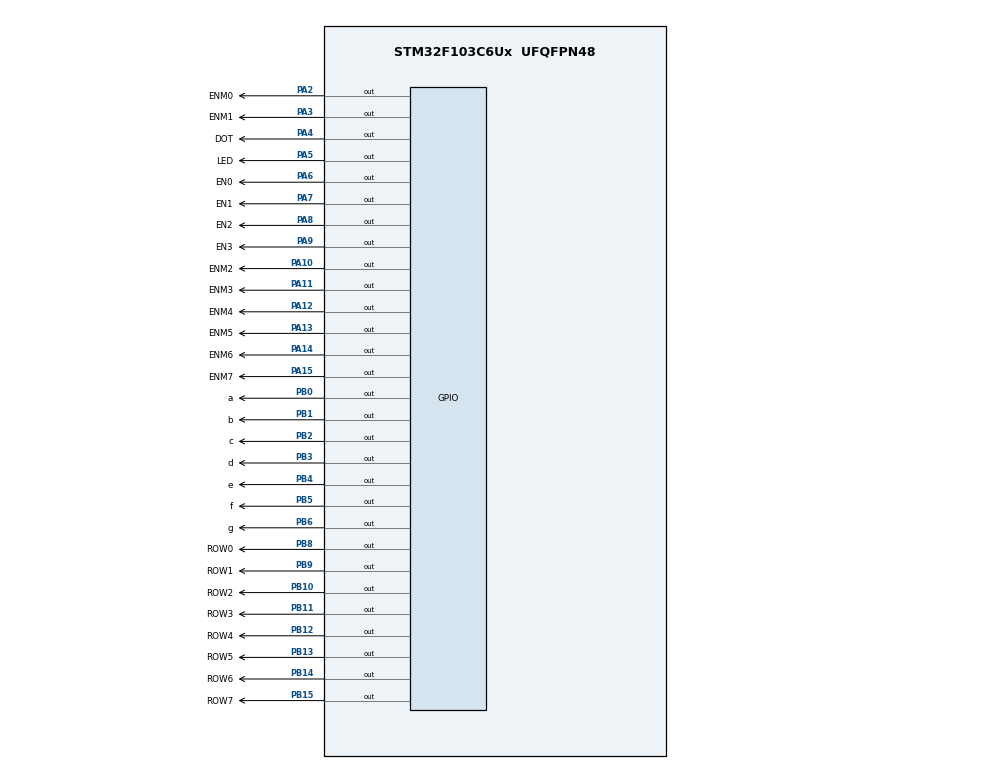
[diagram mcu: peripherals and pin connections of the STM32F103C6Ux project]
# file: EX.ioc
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Mcu.Family=STM32F1
Mcu.Name=STM32F103C6Ux
Mcu.Package=UFQFPN48
NVIC.PriorityGroup=NVIC_PRIORITYGROUP_4
NVIC.TIM2_IRQn=true\:0\:0\:false\:false\:true\:true\:true
PA10.GPIO_Label=ENM2
PA10.Signal=GPIO_Output
PA11.GPIO_Label=ENM3
PA11.Signal=GPIO_Output
PA12.GPIO_Label=ENM4
PA12.Signal=GPIO_Output
PA13.GPIO_Label=ENM5
PA13.Signal=GPIO_Output
PA14.GPIO_Label=ENM6
PA14.Signal=GPIO_Output
PA15.GPIO_Label=ENM7
PA15.Signal=GPIO_Output
PA2.GPIO_Label=ENM0
PA2.Signal=GPIO_Output
PA3.GPIO_Label=ENM1
PA3.Signal=GPIO_Output
PA4.GPIO_Label=DOT
PA4.Signal=GPIO_Output
PA5.GPIO_Label=LED
PA5.Signal=GPIO_Output
PA6.GPIO_Label=EN0
PA6.Signal=GPIO_Output
PA7.GPIO_Label=EN1
PA7.Signal=GPIO_Output
PA8.GPIO_Label=EN2
PA8.Signal=GPIO_Output
PA9.GPIO_Label=EN3
PA9.Signal=GPIO_Output
PB0.GPIO_Label=a
PB0.Signal=GPIO_Output
PB1.GPIO_Label=b
PB1.Signal=GPIO_Output
PB10.GPIO_Label=ROW2
PB10.Signal=GPIO_Output
PB11.GPIO_Label=ROW3
PB11.Signal=GPIO_Output
PB12.GPIO_Label=ROW4
PB12.Signal=GPIO_Output
PB13.GPIO_Label=ROW5
PB13.Signal=GPIO_Output
PB14.GPIO_Label=ROW6
PB14.Signal=GPIO_Output
PB15.GPIO_Label=ROW7
PB15.Signal=GPIO_Output
PB2.GPIO_Label=c
PB2.Signal=GPIO_Output
PB3.GPIO_Label=d
PB3.Signal=GPIO_Output
PB4.GPIO_Label=e
PB4.Signal=GPIO_Output
PB5.GPIO_Label=f
PB5.Signal=GPIO_Output
PB6.GPIO_Label=g
PB6.Signal=GPIO_Output
PB8.GPIO_Label=ROW0
PB8.Signal=GPIO_Output
PB9.GPIO_Label=ROW1
PB9.Signal=GPIO_Output
ProjectManager.HeapSize=0x200
ProjectManager.StackSize=0x400
ProjectManager.TargetToolchain=STM32CubeIDE
RCC.APB1Freq_Value=8000000
RCC.APB2Freq_Value=8000000
TIM2.Period=9
TIM2.Prescaler=7999
VP_SYS_VS_ND.Mode=No_Debug
VP_TIM2_VS_ClockSourceINT.Mode=Internal
board=custom

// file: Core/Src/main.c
/* USER CODE BEGIN Header */
/**
  ******************************************************************************
  * @file           : main.c
  * @brief          : Main program body
  ******************************************************************************
  * @attention
  *
  * <h2><center>&copy; Copyright (c) 2023 STMicroelectronics.
  * All rights reserved.</center></h2>
  *
  * This software component is licensed by ST under BSD 3-Clause license,
  * the "License"; You may not use this file except in compliance with the
  * License. You may obtain a copy of the License at:
  *                        opensource.org/licenses/BSD-3-Clause
  *
  ******************************************************************************
  */
/* USER CODE END Header */
#include "main.h"

TIM_HandleTypeDef htim2;

void SystemClock_Config(void);
static void MX_GPIO_Init(void);
static void MX_TIM2_Init(void);

/* USER CODE BEGIN 0 */

void display7SEG(int num){
	//cac chan cua led 7 doan tuong ung  0 1 2 3 4 5 6 7 8 9
	uint16_t LED7SEG[10] = {0x003F, 0x0006, 0x005B, 0x004F, 0x0066, 0x006D, 0x007D, 0x0007, 0x007F, 0x006F};

	GPIOB->ODR = ~LED7SEG[num];
}

const int MAX_LED = 4;
int index_led = 0;
int hour = 15, minute = 8, second = 50;
int led_buffer[4] = {1, 2, 3, 4};

void updateClockBuffer(){
	if (hour < 10){
		led_buffer[0] = 0;
		led_buffer[1] = hour;
	}
	else {
		led_buffer[0] = hour / 10;
		led_buffer[1] = hour % 10;
	}

	if (minute < 10){
		led_buffer[2] = 0;
		led_buffer[3] = minute;
	}
	else {
		led_buffer[2] = minute / 10;
		led_buffer[3] = minute % 10;
	}
}
void update7SEG(int index){
    display7SEG(led_buffer[index]);
	switch (index){
        case 0:
            //Display the first 7SEG with led_buffer[0]
        	HAL_GPIO_WritePin(EN0_GPIO_Port, EN0_Pin, GPIO_PIN_RESET);
        	HAL_GPIO_WritePin(GPIOA, EN1_Pin|EN2_Pin|EN3_Pin, GPIO_PIN_SET);
        	break;
        case 1:
            //Display the second 7SEG with led_buffer[1]
        	HAL_GPIO_WritePin(EN1_GPIO_Port, EN1_Pin, GPIO_PIN_RESET);
        	HAL_GPIO_WritePin(GPIOA, EN0_Pin|EN2_Pin|EN3_Pin, GPIO_PIN_SET);
        	break;
        case 2:
        	//Display the third 7SEG with led_buffer[2]
        	HAL_GPIO_WritePin(EN2_GPIO_Port, EN2_Pin, GPIO_PIN_RESET);
        	HAL_GPIO_WritePin(GPIOA, EN0_Pin|EN1_Pin|EN3_Pin, GPIO_PIN_SET);
            break;
        case 3:
            //Display the forth 7SEG with led_buffer[3]
        	HAL_GPIO_WritePin(GPIOA, EN0_Pin|EN1_Pin|EN2_Pin, GPIO_PIN_SET);
        	HAL_GPIO_WritePin(EN3_GPIO_Port, EN3_Pin, GPIO_PIN_RESET);
            break;
        default:
            break;
    }
}

/* USER CODE END 0 */

int main(void)
{

  /* MCU Configuration--------------------------------------------------------*/

  /* Reset of all peripherals, Initializes the Flash interface and the Systick. */
  HAL_Init();

  /* Configure the system clock */
  SystemClock_Config();

  /* Initialize all configured peripherals */
  MX_GPIO_Init();
  MX_TIM2_Init();
  /* USER CODE BEGIN 2 */
  HAL_TIM_Base_Start_IT(&htim2);
  /* USER CODE END 2 */

  /* Infinite loop */
  /* USER CODE BEGIN WHILE */
  setTimer0(1000);
  setTimer1(1000);
  while (1){
	  if (timer0_flag) {
		  HAL_GPIO_TogglePin(DOT_GPIO_Port, DOT_Pin);
		  setTimer0(1000);
		  second++;
		  if (second >= 60){
		  	  second = 0;
		  	  minute++;
		  }
		  if(minute >= 60){
		      minute = 0;
		      hour++;
		  }
		  if(hour >=24){
		      hour = 0;
		  }
		  updateClockBuffer();
	  }
	  if (timer1_flag){
		  setTimer1(250);
		  update7SEG(index_led++);
		  if (index_led >= MAX_LED){
			  index_led = 0;
		  }
	  }
    /* USER CODE END WHILE */

  }
}

void SystemClock_Config(void)
{
  RCC_OscInitTypeDef RCC_OscInitStruct = {0};
  RCC_ClkInitTypeDef RCC_ClkInitStruct = {0};

  /** Initializes the RCC Oscillators according to the specified parameters
  * in the RCC_OscInitTypeDef structure.
  */
  RCC_OscInitStruct.OscillatorType = RCC_OSCILLATORTYPE_HSI;
  RCC_OscInitStruct.HSIState = RCC_HSI_ON;
  RCC_OscInitStruct.HSICalibrationValue = RCC_HSICALIBRATION_DEFAULT;
  RCC_OscInitStruct.PLL.PLLState = RCC_PLL_NONE;
  if (HAL_RCC_OscConfig(&RCC_OscInitStruct) != HAL_OK)
  {
    Error_Handler();
  }
  /** Initializes the CPU, AHB and APB buses clocks
  */
  RCC_ClkInitStruct.ClockType = RCC_CLOCKTYPE_HCLK|RCC_CLOCKTYPE_SYSCLK
                              |RCC_CLOCKTYPE_PCLK1|RCC_CLOCKTYPE_PCLK2;
  RCC_ClkInitStruct.SYSCLKSource = RCC_SYSCLKSOURCE_HSI;
  RCC_ClkInitStruct.AHBCLKDivider = RCC_SYSCLK_DIV1;
  RCC_ClkInitStruct.APB1CLKDivider = RCC_HCLK_DIV1;
  RCC_ClkInitStruct.APB2CLKDivider = RCC_HCLK_DIV1;

  if (HAL_RCC_ClockConfig(&RCC_ClkInitStruct, FLASH_LATENCY_0) != HAL_OK)
  {
    Error_Handler();
  }
}

static void MX_TIM2_Init(void)
{

  TIM_ClockConfigTypeDef sClockSourceConfig = {0};
  TIM_MasterConfigTypeDef sMasterConfig = {0};

  htim2.Instance = TIM2;
  htim2.Init.Prescaler = 7999;
  htim2.Init.CounterMode = TIM_COUNTERMODE_UP;
  htim2.Init.Period = 9;
  htim2.Init.ClockDivision = TIM_CLOCKDIVISION_DIV1;
  htim2.Init.AutoReloadPreload = TIM_AUTORELOAD_PRELOAD_DISABLE;
  if (HAL_TIM_Base_Init(&htim2) != HAL_OK)
  {
    Error_Handler();
  }
  sClockSourceConfig.ClockSource = TIM_CLOCKSOURCE_INTERNAL;
  if (HAL_TIM_ConfigClockSource(&htim2, &sClockSourceConfig) != HAL_OK)
  {
    Error_Handler();
  }
  sMasterConfig.MasterOutputTrigger = TIM_TRGO_RESET;
  sMasterConfig.MasterSlaveMode = TIM_MASTERSLAVEMODE_DISABLE;
  if (HAL_TIMEx_MasterConfigSynchronization(&htim2, &sMasterConfig) != HAL_OK)
  {
    Error_Handler();
  }

}

static void MX_GPIO_Init(void)
{
  GPIO_InitTypeDef GPIO_InitStruct = {0};

  /* GPIO Ports Clock Enable */
  __HAL_RCC_GPIOA_CLK_ENABLE();
  __HAL_RCC_GPIOB_CLK_ENABLE();

  /*Configure GPIO pin Output Level */
  HAL_GPIO_WritePin(GPIOA, ENM0_Pin|ENM1_Pin|DOT_Pin|LED_Pin
                          |EN0_Pin|EN1_Pin|EN2_Pin|EN3_Pin
                          |ENM2_Pin|ENM3_Pin|ENM4_Pin|ENM5_Pin
                          |ENM6_Pin|ENM7_Pin, GPIO_PIN_RESET);

  /*Configure GPIO pin Output Level */
  HAL_GPIO_WritePin(GPIOB, a_Pin|b_Pin|c_Pin|ROW2_Pin
                          |ROW3_Pin|ROW4_Pin|ROW5_Pin|ROW6_Pin
                          |ROW7_Pin|d_Pin|e_Pin|f_Pin
                          |g_Pin|ROW0_Pin|ROW1_Pin, GPIO_PIN_RESET);

  /*Configure GPIO pins : ENM0_Pin ENM1_Pin DOT_Pin LED_Pin
                           EN0_Pin EN1_Pin EN2_Pin EN3_Pin
                           ENM2_Pin ENM3_Pin ENM4_Pin ENM5_Pin
                           ENM6_Pin ENM7_Pin */
  GPIO_InitStruct.Pin = ENM0_Pin|ENM1_Pin|DOT_Pin|LED_Pin
                          |EN0_Pin|EN1_Pin|EN2_Pin|EN3_Pin
                          |ENM2_Pin|ENM3_Pin|ENM4_Pin|ENM5_Pin
                          |ENM6_Pin|ENM7_Pin;
  GPIO_InitStruct.Mode = GPIO_MODE_OUTPUT_PP;
  GPIO_InitStruct.Pull = GPIO_NOPULL;
  GPIO_InitStruct.Speed = GPIO_SPEED_FREQ_LOW;
  HAL_GPIO_Init(GPIOA, &GPIO_InitStruct);

  /*Configure GPIO pins : a_Pin b_Pin c_Pin ROW2_Pin
                           ROW3_Pin ROW4_Pin ROW5_Pin ROW6_Pin
                           ROW7_Pin d_Pin e_Pin f_Pin
                           g_Pin ROW0_Pin ROW1_Pin */
  GPIO_InitStruct.Pin = a_Pin|b_Pin|c_Pin|ROW2_Pin
                          |ROW3_Pin|ROW4_Pin|ROW5_Pin|ROW6_Pin
                          |ROW7_Pin|d_Pin|e_Pin|f_Pin
                          |g_Pin|ROW0_Pin|ROW1_Pin;
  GPIO_InitStruct.Mode = GPIO_MODE_OUTPUT_PP;
  GPIO_InitStruct.Pull = GPIO_NOPULL;
  GPIO_InitStruct.Speed = GPIO_SPEED_FREQ_LOW;
  HAL_GPIO_Init(GPIOB, &GPIO_InitStruct);

}

/* USER CODE BEGIN 4 */
void HAL_TIM_PeriodElapsedCallback(TIM_HandleTypeDef *htim){
	timer_run();
}
/* USER CODE END 4 */

void Error_Handler(void)
{
  __disable_irq();
  while (1)
  {
  }
}

/************************ (C) COPYRIGHT STMicroelectronics *****END OF FILE****/
